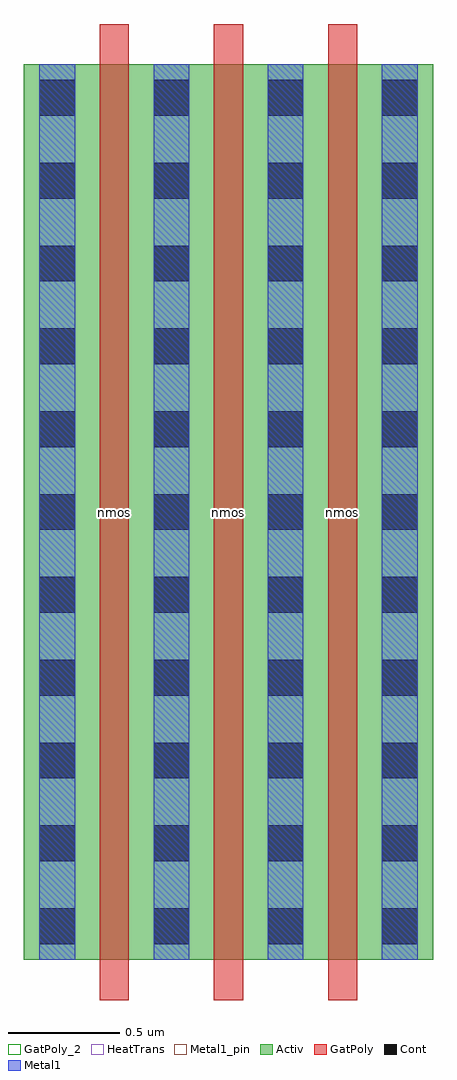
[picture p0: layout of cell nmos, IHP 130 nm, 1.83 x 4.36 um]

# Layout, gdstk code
import gdstk
lib = gdstk.Library(unit=1e-6, precision=1e-09)
def R(c, l, rs):  # rectangles x0, y0, x1, y1
    for r in rs: c.add(gdstk.rectangle(r[:2], r[2:], *l))
def A(c, l, x, y, w, h, nx, ny, dx, dy):  # array of equal rectangles
    R(c, l, [(x+i*dx, y+j*dy, x+i*dx+w, y+j*dy+h) for i in range(nx) for j in range(ny)])
Activ = (1, 0)
GatPoly = (5, 0)
GatPoly_2 = (5, 2)
Cont = (6, 0)
Metal1 = (8, 0)
Metal1_pin = (8, 2)
HeatTrans = (51, 0)

nmos = lib.new_cell('nmos')
A(nmos, Activ, 0, 0, 0.3, 0.3, 4, 1, 0.51, 0)
R(nmos, Activ, [(0,0,1.83,4)])
A(nmos, GatPoly, 0.34, -0.18, 0.13, 4.36, 3, 1, 0.51, 0)
R(nmos, GatPoly_2, [(0.34,-0.18,0.47,4.18)])
A(nmos, Cont, 0.07, 0.07, 0.16, 0.16, 4, 11, 0.51, 0.37)
A(nmos, Metal1, 0.07, 0, 0.16, 4, 4, 1, 0.51, 0)
R(nmos, Metal1_pin, [(0.07,0,0.23,4), (0.58,0,0.74,4)])
A(nmos, HeatTrans, 0.34, -0.18, 0.13, 4.36, 3, 1, 0.51, 0)
nmos.add(gdstk.Label('nmos', (0.405,2), layer=63, texttype=0))
nmos.add(gdstk.Label('nmos', (0.405,2), layer=51, texttype=0))
nmos.add(gdstk.Label('nmos', (0.915,2), layer=51, texttype=0))
nmos.add(gdstk.Label('nmos', (1.425,2), layer=51, texttype=0))

lib.write_gds('nmos.gds')
